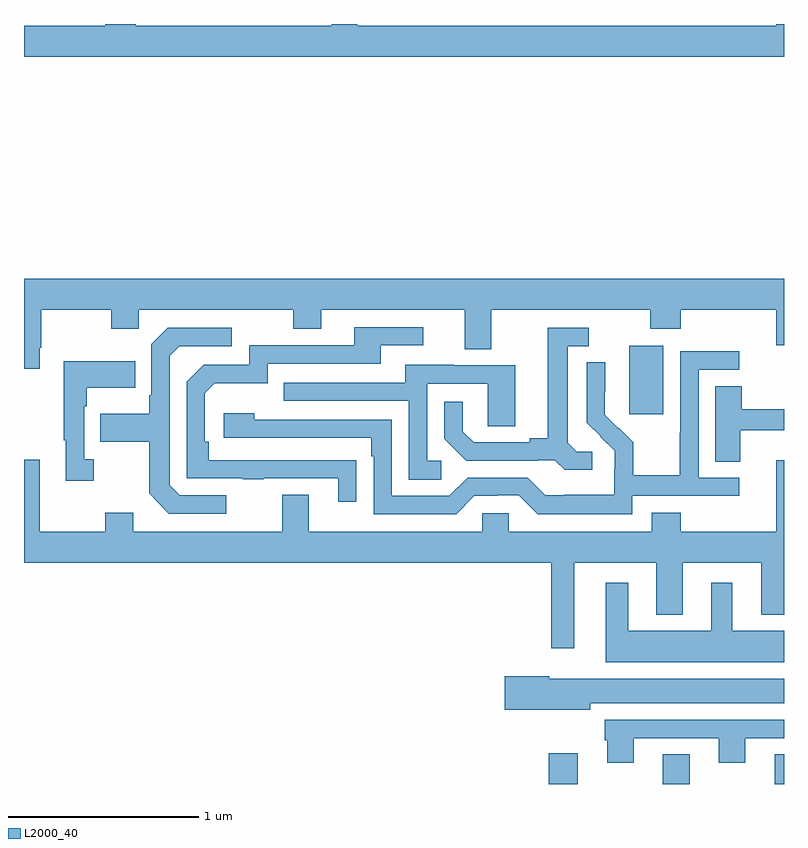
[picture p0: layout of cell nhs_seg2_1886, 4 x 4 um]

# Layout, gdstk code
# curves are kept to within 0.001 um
import gdstk
lib = gdstk.Library(unit=1e-6, precision=1e-09)
def R(c, l, rs):  # rectangles x0, y0, x1, y1
    for r in rs: c.add(gdstk.rectangle(r[:2], r[2:], *l))
def P(c, l, *ps):  # polygons
    for p in ps: c.add(gdstk.Polygon(p, *l))
L2000_40 = (2000, 40)

nhs_seg2_1886 = lib.new_cell('nhs_seg2_1886')
R(nhs_seg2_1886, L2000_40, [(211.763,651.8,211.915,651.961), (212.363,651.8,212.503,651.956), (212.951,651.8,213,651.956), (212.186,653.745,212.365,654.106)])
P(nhs_seg2_1886, L2000_40, [(213,655.8),(212.96,655.8),(212.96,655.792),(210.755,655.792),(210.755,655.8),(210.619,655.8),(210.619,655.792),(209.588,655.792),(209.588,655.8),(209.428,655.8),(209.428,655.792),(209,655.792),(209,655.628),(213,655.628)],
  [(209.083,654.097),(209.091,654.097),(209.091,654.296),(209.458,654.296),(209.458,654.197),(209.604,654.197),(209.604,654.296),(210.418,654.296),(210.418,654.197),(210.565,654.197),(210.565,654.296),(211.319,654.296),(211.319,654.088),(211.459,654.088),(211.459,654.296),(212.296,654.296),(212.296,654.197),(212.456,654.197),(212.456,654.296),(212.96,654.296),(212.96,654.108),(213,654.108),(213,654.46),(209,654.46),(209,653.985),(209.083,653.985)],
  [(210.749,653.504),(209.972,653.505),(209.972,653.602),(209.952,653.602),(209.952,653.856),(210.005,653.909),(210.282,653.909),(210.282,654.012),(210.877,654.012),(210.877,654.108),(211.102,654.108),(211.102,654.204),(210.737,654.204),(210.737,654.108),(210.186,654.108),(210.186,654.006),(209.946,654.006),(209.856,653.916),(209.856,653.409),(210.151,653.409),(210.151,653.404),(210.263,653.404),(210.263,653.409),(210.653,653.409),(210.653,653.286),(210.749,653.286)],
  [(210.064,653.319),(209.82,653.319),(209.766,653.373),(209.766,654.054),(209.817,654.105),(210.094,654.105),(210.094,654.201),(209.757,654.201),(209.67,654.114),(209.67,653.845),(209.658,653.845),(209.658,653.749),(209.401,653.749),(209.401,653.602),(209.658,653.602),(209.658,653.329),(209.763,653.223),(210.064,653.223)],
  [(211.99,653.55),(211.908,653.55),(211.861,653.597),(211.861,654.105),(211.972,654.105),(211.972,654.201),(211.757,654.201),(211.757,653.621),(211.661,653.621),(211.661,653.598),(211.366,653.598),(211.309,653.655),(211.309,653.812),(211.212,653.812),(211.212,653.618),(211.328,653.502),(211.7,653.502),(211.7,653.505),(211.794,653.505),(211.846,653.453),(211.99,653.453)],
  [(212.202,653.316),(212.764,653.316),(212.764,653.412),(212.55,653.412),(212.55,653.979),(212.764,653.979),(212.764,654.078),(212.454,654.078),(212.454,653.648),(212.452,653.648),(212.452,653.425),(212.207,653.425),(212.207,653.599),(212.13,653.676),(212.127,653.673),(212.057,653.744),(212.058,654.02),(211.962,654.02),(211.962,653.702),(212.108,653.554),(212.108,653.457),(212.106,653.457),(212.106,653.323),(211.843,653.323),(211.843,653.319),(211.743,653.319),(211.65,653.412),(211.335,653.412),(211.239,653.316),(210.936,653.316),(210.936,653.718),(210.212,653.718),(210.212,653.752),(210.051,653.752),(210.051,653.622),(210.827,653.622),(210.827,653.525),(210.84,653.525),(210.84,653.22),(211.275,653.22),(211.371,653.316),(211.49,653.316),(211.49,653.319),(211.605,653.319),(211.705,653.219),(212.202,653.219)],
  [(209.368,653.51),(209.316,653.51),(209.316,653.789),(209.329,653.789),(209.329,653.885),(209.585,653.885),(209.585,654.025),(209.208,654.025),(209.208,653.609),(209.219,653.609),(209.219,653.397),(209.368,653.397)],
  [(211.195,653.502),(211.122,653.502),(211.122,653.907),(211.44,653.907),(211.44,653.683),(211.585,653.683),(211.585,654.003),(211.261,654.003),(211.261,654.007),(211.007,654.007),(211.007,653.913),(210.367,653.913),(210.367,653.817),(211.026,653.817),(211.026,653.401),(211.195,653.401)],
  [(212.77,653.663),(213,653.663),(213,653.773),(212.778,653.773),(212.778,653.894),(212.639,653.894),(212.639,653.497),(212.77,653.497)],
  [(211.897,652.964),(212.327,652.964),(212.327,652.691),(212.467,652.691),(212.467,652.964),(212.879,652.964),(212.879,652.691),(213,652.691),(213,653.503),(212.96,653.503),(212.96,653.128),(212.456,653.128),(212.456,653.227),(212.303,653.227),(212.303,653.128),(211.551,653.128),(211.551,653.226),(211.413,653.226),(211.413,653.128),(210.499,653.128),(210.499,653.323),(210.359,653.323),(210.359,653.128),(209.575,653.128),(209.575,653.227),(209.428,653.227),(209.428,653.128),(209.083,653.128),(209.083,653.506),(209,653.506),(209,652.964),(211.776,652.964),(211.776,652.515),(211.897,652.515)],
  [(213,652.606),(212.728,652.606),(212.728,652.858),(212.618,652.858),(212.618,652.606),(212.179,652.606),(212.179,652.858),(212.063,652.858),(212.063,652.442),(213,652.442)],
  [(211.981,652.226),(213,652.226),(213,652.354),(211.764,652.354),(211.764,652.367),(211.53,652.367),(211.53,652.19),(211.981,652.19)],
  [(212.209,652.041),(212.657,652.041),(212.657,651.912),(212.797,651.912),(212.797,652.041),(213,652.041),(213,652.137),(212.057,652.137),(212.057,652.029),(212.069,652.029),(212.069,651.912),(212.209,651.912)])

lib.write_gds('nhs_seg2_1886.gds')
